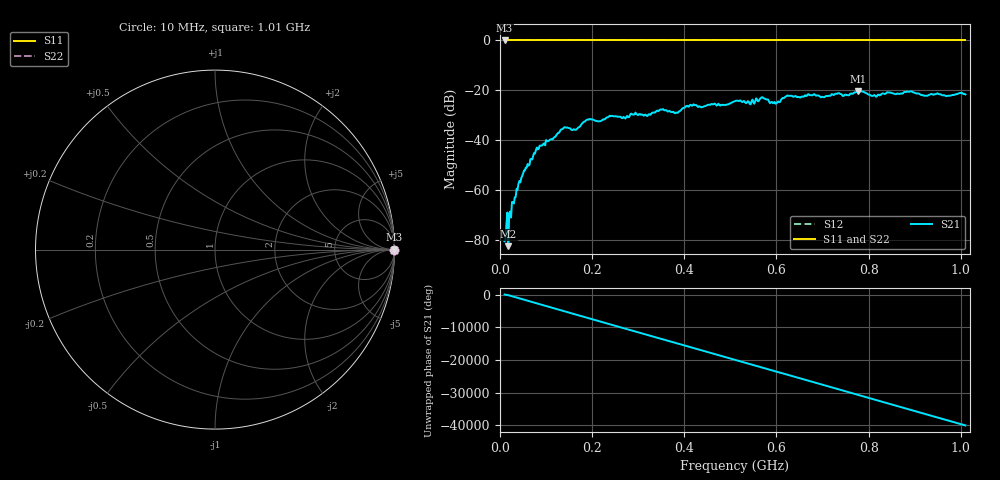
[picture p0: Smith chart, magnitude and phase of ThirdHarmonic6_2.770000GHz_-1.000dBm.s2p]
! 8/17/2025 7:02:38 AM
! C:\ANRITSUVNA\TEMP\TEMP.S2P
! CHANNEL.1
! TR.MEASUREMENT
! RAW.DATA
! RF.CORRECTION.OFF
! AVERAGING.OFF
! IF.BANDWIDTH: 5KHZ
! SWEEPTYPE:  FREQ.SWEEP(Linear)
! Reference Plane Port Info
! PORT:  PORT1  PORT2
! DISTANCE:  0  m  0  m
! TIME:  0  s  0  s
! PHASE.OFFSET:  0  deg.  0  deg.
! LOSS:  0  dB  0  dB
! REF.LOSS:  0  dB  0  dB
! REF.FREQ:  0  Hz  0  Hz
! Power Info
! POWER:  -20  dBm  -20  dBm
! EFF.POWER:  -20  dBm  -20  dBm
! SOURCE.ATTEN:  0  dB  0  dB
! TEST.ATTEN:  0  dB  0  dB
# GHZ S RI R 50.0
! FREQ.GHZ  S11RE  S11IM  S21RE  S21IM  S12RE  S12IM  S22RE  S22IM
!; PortSelection: Port_12
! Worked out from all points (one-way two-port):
!   501 points, 10 MHz to 1.01 GHz, reference 50 ohm
!   highest |S21| = -20.28 dB at 778 MHz (marker M1); lowest = -82.4 dB at 18 MHz (marker M2)
!   lowest |S11| = 0.0 dB at 10 MHz (marker M3)
!   |S11| at or under -10 dB: nowhere
!   |S22| runs from 0.0 to 0.0 dB; largest |S21 - S12| = 1.1
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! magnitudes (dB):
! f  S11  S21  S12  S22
! 10 MHz  0.0  -80.4  0.0  0.0
! 18 MHz  0.0  -82.4  0.0  0.0
! 44 MHz  0.0  -56.9  0.0  0.0
! 78 MHz  0.0  -43.9  0.0  0.0
! 136 MHz  0.0  -35.4  0.0  0.0
! 162 MHz  0.0  -35.7  0.0  0.0
! 178 MHz  0.0  -33.3  0.0  0.0
! 192 MHz  0.0  -31.7  0.0  0.0
! 322 MHz  0.0  -29.6  0.0  0.0
! 344 MHz  0.0  -28.3  0.0  0.0
! 382 MHz  0.0  -28.9  0.0  0.0
! 416 MHz  0.0  -26.1  0.0  0.0
! 510 MHz  0.0  -24.3  0.0  0.0
! 540 MHz  0.0  -24.6  0.0  0.0
! 570 MHz  0.0  -22.7  0.0  0.0
! 596 MHz  0.0  -24.7  0.0  0.0
! 624 MHz  0.0  -22.0  0.0  0.0
! 678 MHz  0.0  -22.0  0.0  0.0
! 778 MHz  0.0  -20.3  0.0  0.0
! 814 MHz  0.0  -22.1  0.0  0.0
! 844 MHz  0.0  -20.9  0.0  0.0
! 1.01 GHz  0.0  -21.6  0.0  0.0
